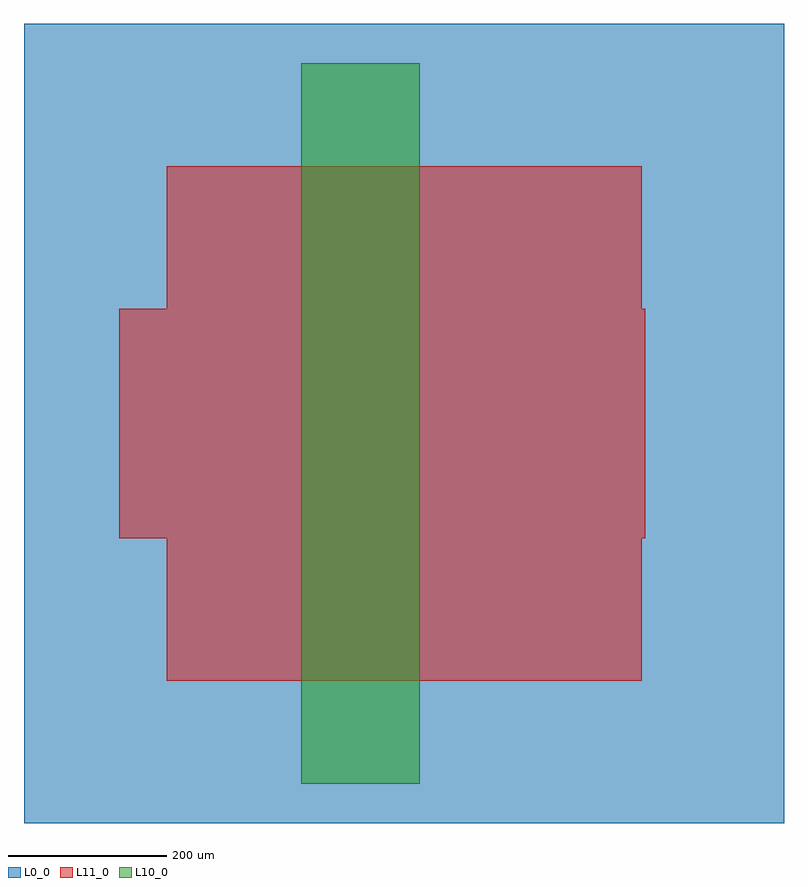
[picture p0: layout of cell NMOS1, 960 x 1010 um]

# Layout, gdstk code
import gdstk
lib = gdstk.Library(unit=1e-6, precision=1e-09)
def R(c, l, rs):  # rectangles x0, y0, x1, y1
    for r in rs: c.add(gdstk.rectangle(r[:2], r[2:], *l))
L0_0 = (0, 0)
L10_0 = (10, 0)
L11_0 = (11, 0)

nmos1 = lib.new_cell('NMOS1')
R(nmos1, L0_0, [(-180,-50,780,960), (-125,5,725,905), (-80,290,250,620), (295,290,625,620), (0,370,170,540), (375,370,545,540)])
R(nmos1, L10_0, [(170,0,320,910)])
R(nmos1, L11_0, [(0,130,600,780), (-60,310,230,600), (315,310,605,600)])

lib.write_gds('NMOS1.gds')
